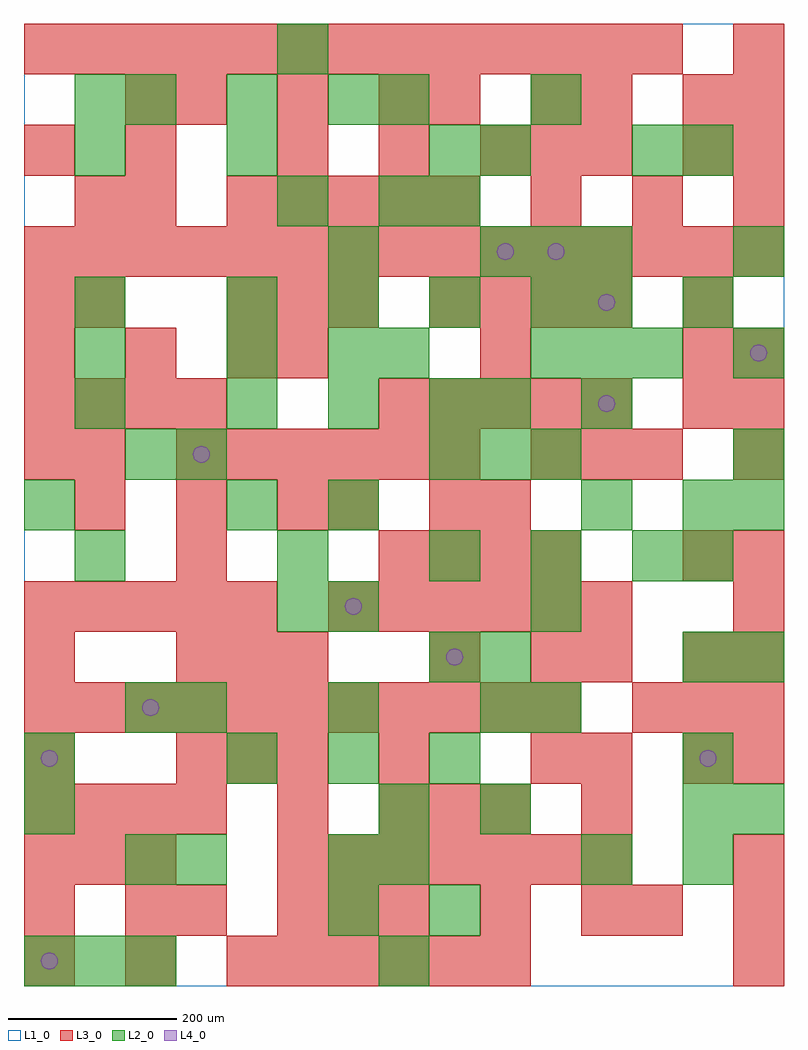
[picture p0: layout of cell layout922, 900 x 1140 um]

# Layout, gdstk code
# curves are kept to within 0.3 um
import gdstk
lib = gdstk.Library(unit=1e-6, precision=1e-09)
def R(c, l, rs):  # rectangles x0, y0, x1, y1
    for r in rs: c.add(gdstk.rectangle(r[:2], r[2:], *l))
def A(c, l, x, y, w, h, nx, ny, dx, dy):  # array of equal rectangles
    R(c, l, [(x+i*dx, y+j*dy, x+i*dx+w, y+j*dy+h) for i in range(nx) for j in range(ny)])
def P(c, l, *ps):  # polygons
    for p in ps: c.add(gdstk.Polygon(p, *l))
L1_0 = (1, 0)
L2_0 = (2, 0)
L3_0 = (3, 0)
L4_0 = (4, 0)

layout922 = lib.new_cell('layout922')
R(layout922, L1_0, [(0,0,900,1140)])
A(layout922, L2_0, 0, 0, 60, 60, 3, 1, 60, 0)
A(layout922, L2_0, 780, 120, 60, 60, 1, 3, 0, 60)
A(layout922, L2_0, 840, 180, 60, 60, 1, 3, 0, 180)
A(layout922, L2_0, 240, 240, 60, 60, 3, 2, 120, 420)
A(layout922, L2_0, 180, 300, 60, 60, 3, 1, 180, 0)
A(layout922, L2_0, 540, 360, 60, 60, 1, 3, 0, 300)
A(layout922, L2_0, 480, 480, 60, 60, 3, 1, 120, 0)
A(layout922, L2_0, 660, 540, 60, 60, 1, 3, 0, 120)
A(layout922, L2_0, 480, 600, 60, 60, 3, 1, 60, 0)
A(layout922, L2_0, 840, 600, 60, 60, 1, 3, 0, 120)
A(layout922, L2_0, 60, 660, 60, 60, 1, 3, 0, 60)
A(layout922, L2_0, 600, 720, 60, 60, 3, 1, 60, 0)
A(layout922, L2_0, 240, 780, 60, 60, 4, 1, 120, 0)
A(layout922, L2_0, 540, 840, 60, 60, 3, 1, 60, 0)
A(layout922, L2_0, 120, 1020, 60, 60, 3, 1, 120, 0)
R(layout922, L2_0, [(420,0,480,60), (360,60,420,120), (480,60,540,120), (120,120,180,180), (180,120,240,180), (360,120,420,180), (420,120,480,180), (660,120,720,180), (0,180,60,240), (420,180,480,240), (540,180,600,240), (0,240,60,300), (120,300,180,360), (600,300,660,360), (480,360,540,420), (780,360,840,420), (300,420,360,480), (360,420,420,480), (600,420,660,480), (60,480,120,540), (300,480,360,540), (780,480,840,540), (0,540,60,600), (240,540,300,600), (360,540,420,600), (780,540,840,600), (120,600,180,660), (180,600,240,660), (240,720,300,780), (360,720,420,780), (420,720,480,780), (780,780,840,840), (360,840,420,900), (300,900,360,960), (420,900,480,960), (480,900,540,960), (60,960,120,1020), (240,960,300,1020), (480,960,540,1020), (720,960,780,1020), (780,960,840,1020), (60,1020,120,1080), (420,1020,480,1080), (600,1020,660,1080), (300,1080,360,1140)])
A(layout922, L3_0, 0, 0, 60, 60, 3, 2, 120, 720)
A(layout922, L3_0, 300, 0, 60, 60, 5, 1, 60, 0)
A(layout922, L3_0, 840, 0, 60, 60, 1, 3, 0, 60)
A(layout922, L3_0, 300, 60, 60, 60, 3, 1, 60, 0)
A(layout922, L3_0, 0, 120, 60, 60, 3, 1, 60, 0)
A(layout922, L3_0, 300, 120, 60, 60, 7, 1, 60, 0)
A(layout922, L3_0, 0, 180, 60, 60, 4, 2, 60, 480)
A(layout922, L3_0, 420, 180, 60, 60, 3, 1, 60, 0)
A(layout922, L3_0, 180, 240, 60, 60, 3, 2, 60, 120)
A(layout922, L3_0, 780, 240, 60, 60, 1, 3, 0, 120)
A(layout922, L3_0, 0, 300, 60, 60, 11, 1, 60, 0)
A(layout922, L3_0, 720, 300, 60, 60, 3, 1, 60, 0)
A(layout922, L3_0, 840, 360, 60, 60, 1, 3, 0, 60)
A(layout922, L3_0, 0, 420, 60, 60, 5, 1, 60, 0)
A(layout922, L3_0, 360, 420, 60, 60, 6, 1, 60, 0)
A(layout922, L3_0, 420, 480, 60, 60, 4, 1, 60, 0)
A(layout922, L3_0, 60, 540, 60, 60, 3, 1, 120, 0)
A(layout922, L3_0, 0, 600, 60, 60, 1, 3, 0, 180)
A(layout922, L3_0, 180, 600, 60, 60, 6, 1, 60, 0)
A(layout922, L3_0, 600, 600, 60, 60, 3, 1, 60, 0)
A(layout922, L3_0, 840, 600, 60, 60, 1, 3, 0, 60)
A(layout922, L3_0, 420, 660, 60, 60, 5, 1, 60, 0)
A(layout922, L3_0, 300, 720, 60, 60, 3, 1, 240, 0)
A(layout922, L3_0, 240, 780, 60, 60, 3, 1, 60, 0)
A(layout922, L3_0, 480, 780, 60, 60, 4, 1, 60, 0)
A(layout922, L3_0, 0, 840, 60, 60, 15, 1, 60, 0)
A(layout922, L3_0, 120, 900, 60, 60, 1, 3, 0, 60)
A(layout922, L3_0, 240, 900, 60, 60, 5, 1, 60, 0)
A(layout922, L3_0, 600, 900, 60, 60, 3, 1, 120, 0)
A(layout922, L3_0, 300, 960, 60, 60, 3, 1, 120, 0)
A(layout922, L3_0, 840, 960, 60, 60, 1, 3, 0, 60)
A(layout922, L3_0, 180, 1020, 60, 60, 3, 1, 120, 0)
A(layout922, L3_0, 0, 1080, 60, 60, 13, 1, 60, 0)
R(layout922, L3_0, [(0,60,60,120), (120,60,180,120), (180,60,240,120), (540,60,600,120), (660,60,720,120), (720,60,780,120), (300,180,360,240), (660,180,720,240), (0,240,60,300), (420,240,480,300), (600,240,660,300), (660,240,720,300), (840,240,900,300), (0,360,60,420), (480,360,540,420), (600,360,660,420), (660,360,720,420), (180,480,240,540), (360,540,420,600), (480,540,540,600), (540,540,600,600), (60,600,120,660), (780,660,840,720), (60,780,120,840), (780,780,840,840), (60,900,120,960), (600,960,660,1020), (660,960,720,1020), (780,960,840,1020), (480,1020,540,1080), (600,1020,660,1080), (660,1020,720,1080), (780,1020,840,1080)])
P(layout922, L4_0, [(40,30),(39.239,33.827),(37.071,37.071),(33.827,39.239),(30,40),(26.173,39.239),(22.929,37.071),(20.761,33.827),(20,30),(20.761,26.173),(22.929,22.929),(26.173,20.761),(30,20),(33.827,20.761),(37.071,22.929),(39.239,26.173)],
  [(40,270),(39.239,273.827),(37.071,277.071),(33.827,279.239),(30,280),(26.173,279.239),(22.929,277.071),(20.761,273.827),(20,270),(20.761,266.173),(22.929,262.929),(26.173,260.761),(30,260),(33.827,260.761),(37.071,262.929),(39.239,266.173)],
  [(160,330),(159.239,333.827),(157.071,337.071),(153.827,339.239),(150,340),(146.173,339.239),(142.929,337.071),(140.761,333.827),(140,330),(140.761,326.173),(142.929,322.929),(146.173,320.761),(150,320),(153.827,320.761),(157.071,322.929),(159.239,326.173)],
  [(220,630),(219.239,633.827),(217.071,637.071),(213.827,639.239),(210,640),(206.173,639.239),(202.929,637.071),(200.761,633.827),(200,630),(200.761,626.173),(202.929,622.929),(206.173,620.761),(210,620),(213.827,620.761),(217.071,622.929),(219.239,626.173)],
  [(400,450),(399.239,453.827),(397.071,457.071),(393.827,459.239),(390,460),(386.173,459.239),(382.929,457.071),(380.761,453.827),(380,450),(380.761,446.173),(382.929,442.929),(386.173,440.761),(390,440),(393.827,440.761),(397.071,442.929),(399.239,446.173)],
  [(520,390),(519.239,393.827),(517.071,397.071),(513.827,399.239),(510,400),(506.173,399.239),(502.929,397.071),(500.761,393.827),(500,390),(500.761,386.173),(502.929,382.929),(506.173,380.761),(510,380),(513.827,380.761),(517.071,382.929),(519.239,386.173)],
  [(580,870),(579.239,873.827),(577.071,877.071),(573.827,879.239),(570,880),(566.173,879.239),(562.929,877.071),(560.761,873.827),(560,870),(560.761,866.173),(562.929,862.929),(566.173,860.761),(570,860),(573.827,860.761),(577.071,862.929),(579.239,866.173)],
  [(640,870),(639.239,873.827),(637.071,877.071),(633.827,879.239),(630,880),(626.173,879.239),(622.929,877.071),(620.761,873.827),(620,870),(620.761,866.173),(622.929,862.929),(626.173,860.761),(630,860),(633.827,860.761),(637.071,862.929),(639.239,866.173)],
  [(700,690),(699.239,693.827),(697.071,697.071),(693.827,699.239),(690,700),(686.173,699.239),(682.929,697.071),(680.761,693.827),(680,690),(680.761,686.173),(682.929,682.929),(686.173,680.761),(690,680),(693.827,680.761),(697.071,682.929),(699.239,686.173)],
  [(700,810),(699.239,813.827),(697.071,817.071),(693.827,819.239),(690,820),(686.173,819.239),(682.929,817.071),(680.761,813.827),(680,810),(680.761,806.173),(682.929,802.929),(686.173,800.761),(690,800),(693.827,800.761),(697.071,802.929),(699.239,806.173)],
  [(820,270),(819.239,273.827),(817.071,277.071),(813.827,279.239),(810,280),(806.173,279.239),(802.929,277.071),(800.761,273.827),(800,270),(800.761,266.173),(802.929,262.929),(806.173,260.761),(810,260),(813.827,260.761),(817.071,262.929),(819.239,266.173)],
  [(880,750),(879.239,753.827),(877.071,757.071),(873.827,759.239),(870,760),(866.173,759.239),(862.929,757.071),(860.761,753.827),(860,750),(860.761,746.173),(862.929,742.929),(866.173,740.761),(870,740),(873.827,740.761),(877.071,742.929),(879.239,746.173)])

lib.write_gds('layout922.gds')
